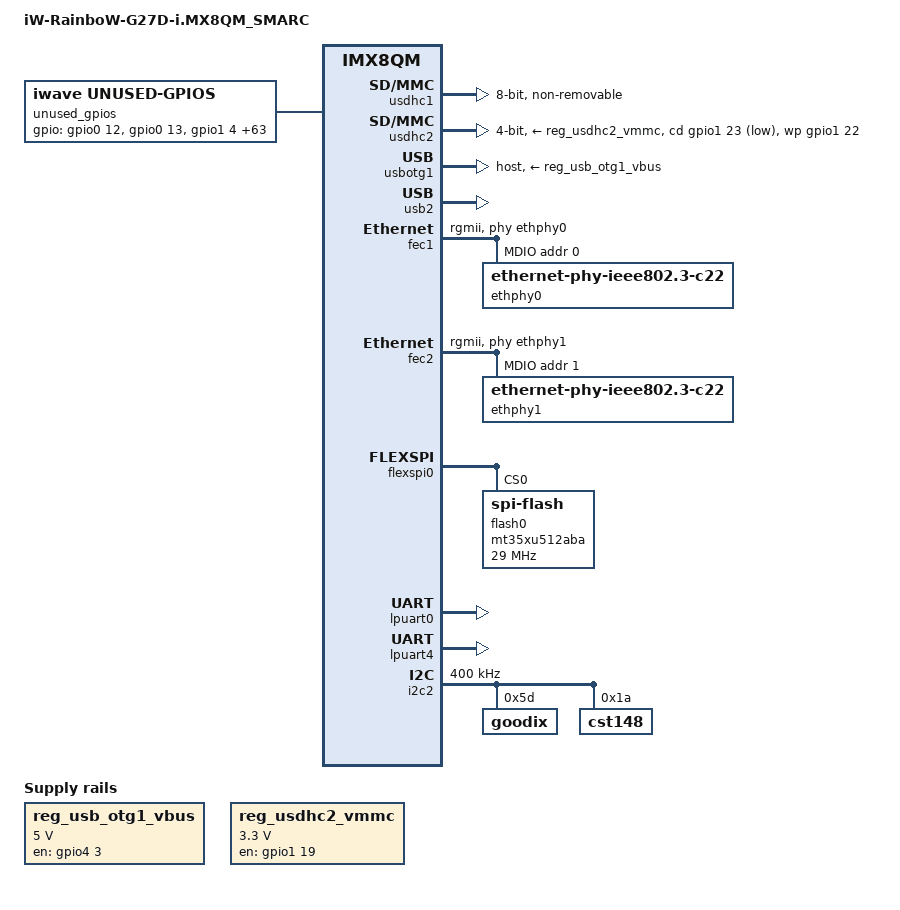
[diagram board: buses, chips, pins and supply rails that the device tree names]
/*
 * Copyright (C) 2018 iWave System Technologies Pvt Ltd.
 * Copyright 2018
 *
 * This program is free software; you can redistribute it and/or
 * modify it under the terms of the GNU General Public License
 * as published by the Free Software Foundation; either version 2
 * of the License, or (at your option) any later version.
 *
 * This program is distributed in the hope that it will be useful,
 * but WITHOUT ANY WARRANTY; without even the implied warranty of
 * MERCHANTABILITY or FITNESS FOR A PARTICULAR PURPOSE.  See the
 * GNU General Public License for more details.
 */

/dts-v1/;

/* First 128KB is for PSCI ATF. */
/memreserve/ 0x80000000 0x00020000;

#include "fsl-imx8qm.dtsi"

/ {
	model = "iW-RainboW-G27D-i.MX8QM_SMARC";
	compatible = "fsl,imx8qm-iwg27m", "fsl,imx8qm";

	chosen {
		bootargs = "console=ttyLP4,115200 earlycon=lpuart32,0x5a0a0000,115200";
		stdout-path = &lpuart4;
	};

	unused_gpios: unused_gpios {
		compatible = "iwave,unused-gpios";
		pinctrl-names = "default";
        	pinctrl-0 = <&pinctrl_unused_gpio>;
		status = "okay";
        };

	regulators {
		compatible = "simple-bus";
		#address-cells = <1>;
		#size-cells = <0>;

		reg_usb_otg1_vbus: regulator@0 {
			compatible = "regulator-fixed";
			reg = <0>;
			regulator-name = "usb_otg1_vbus";
			regulator-min-microvolt = <5000000>;
			regulator-max-microvolt = <5000000>;
			gpio = <&gpio4 3 GPIO_ACTIVE_HIGH>;
			enable-active-high;
		};

		reg_usdhc2_vmmc: usdhc2_vmmc {
			compatible = "regulator-fixed";
			regulator-name = "sw-3p3-sd1";
			regulator-min-microvolt = <3300000>;
			regulator-max-microvolt = <3300000>;
			gpio = <&gpio1 19 GPIO_ACTIVE_HIGH>;
			enable-active-high;
               	};
	};

};

&iomuxc {
	pinctrl-names = "default";
	pinctrl-0 = <&pinctrl_hog_1>;

	imx8qm-iwg27m {
		pinctrl_hog_1: hoggrp-1 {
			fsl,pins = <
				SC_P_USB_SS3_TC0_LSIO_GPIO4_IO03	  	0x00000021
			>;
		};

		pinctrl_fec1: fec1grp {
			fsl,pins = <
				SC_P_ENET0_MDC_CONN_ENET0_MDC			0x06000048
				SC_P_ENET0_MDIO_CONN_ENET0_MDIO			0x06000048
				SC_P_ENET0_RGMII_TX_CTL_CONN_ENET0_RGMII_TX_CTL	0x06000048
				SC_P_ENET0_RGMII_TXC_CONN_ENET0_RGMII_TXC	0x06000048
				SC_P_ENET0_RGMII_TXD0_CONN_ENET0_RGMII_TXD0	0x06000048
				SC_P_ENET0_RGMII_TXD1_CONN_ENET0_RGMII_TXD1	0x06000048
				SC_P_ENET0_RGMII_TXD2_CONN_ENET0_RGMII_TXD2	0x06000048
				SC_P_ENET0_RGMII_TXD3_CONN_ENET0_RGMII_TXD3	0x06000048
				SC_P_ENET0_RGMII_RXC_CONN_ENET0_RGMII_RXC	0x06000048
				SC_P_ENET0_RGMII_RX_CTL_CONN_ENET0_RGMII_RX_CTL	0x06000048
				SC_P_ENET0_RGMII_RXD0_CONN_ENET0_RGMII_RXD0	0x06000048
				SC_P_ENET0_RGMII_RXD1_CONN_ENET0_RGMII_RXD1	0x06000048
				SC_P_ENET0_RGMII_RXD2_CONN_ENET0_RGMII_RXD2	0x06000048
				SC_P_ENET0_RGMII_RXD3_CONN_ENET0_RGMII_RXD3	0x06000048
				SC_P_ENET0_REFCLK_125M_25M_CONN_ENET0_REFCLK_125M_25M	0x06000048
				SC_P_PCIE_CTRL1_WAKE_B_LSIO_GPIO4_IO31		0x00000021
		                SC_P_PCIE_CTRL1_CLKREQ_B_LSIO_GPIO4_IO30	0x00000021
                		SC_P_PCIE_CTRL0_CLKREQ_B_LSIO_GPIO4_IO27	0x00000021		
			>;
		};

		pinctrl_fec2: fec2grp {
			fsl,pins = <
				SC_P_ENET1_RGMII_TX_CTL_CONN_ENET1_RGMII_TX_CTL	0x06000048
				SC_P_ENET1_RGMII_TXC_CONN_ENET1_RGMII_TXC	0x06000048
				SC_P_ENET1_RGMII_TXD0_CONN_ENET1_RGMII_TXD0	0x06000048
				SC_P_ENET1_RGMII_TXD1_CONN_ENET1_RGMII_TXD1	0x06000048
				SC_P_ENET1_RGMII_TXD2_CONN_ENET1_RGMII_TXD2	0x06000048
				SC_P_ENET1_RGMII_TXD3_CONN_ENET1_RGMII_TXD3	0x06000048
				SC_P_ENET1_RGMII_RXC_CONN_ENET1_RGMII_RXC	0x06000048
				SC_P_ENET1_RGMII_RX_CTL_CONN_ENET1_RGMII_RX_CTL	0x06000048
				SC_P_ENET1_RGMII_RXD0_CONN_ENET1_RGMII_RXD0	0x06000048
				SC_P_ENET1_RGMII_RXD1_CONN_ENET1_RGMII_RXD1	0x06000048
				SC_P_ENET1_RGMII_RXD2_CONN_ENET1_RGMII_RXD2	0x06000048
				SC_P_ENET1_RGMII_RXD3_CONN_ENET1_RGMII_RXD3	0x06000048
				SC_P_ENET1_REFCLK_125M_25M_CONN_ENET1_REFCLK_125M_25M	0x06000048
				SC_P_ENET1_MDIO_CONN_ENET1_MDIO			0x06000048
				SC_P_ENET1_MDC_CONN_ENET1_MDC			0x06000048
				SC_P_MIPI_DSI1_I2C0_SCL_LSIO_GPIO1_IO20 	0x00000021 
				SC_P_MIPI_DSI0_I2C0_SCL_LSIO_GPIO1_IO16		0x00000021
				SC_P_MIPI_DSI0_I2C0_SDA_LSIO_GPIO1_IO17		0x00000021
			>;
		};

		pinctrl_lpuart0: lpuart0grp {
			fsl,pins = <
				SC_P_UART0_RX_DMA_UART0_RX			0x06000020
				SC_P_UART0_TX_DMA_UART0_TX			0x06000020
			>;
		};
	
		pinctrl_lpuart4: lpuart4grp {
                        fsl,pins = <
                                SC_P_M40_GPIO0_00_DMA_UART4_RX              	0x06000020
                                SC_P_M40_GPIO0_01_DMA_UART4_TX              	0x06000020
                        >;
                };

		pinctrl_usdhc1: usdhc1grp {
			fsl,pins = <
				SC_P_EMMC0_CLK_CONN_EMMC0_CLK			0x06000041
				SC_P_EMMC0_CMD_CONN_EMMC0_CMD			0x00000021
				SC_P_EMMC0_DATA0_CONN_EMMC0_DATA0		0x00000021
				SC_P_EMMC0_DATA1_CONN_EMMC0_DATA1		0x00000021
				SC_P_EMMC0_DATA2_CONN_EMMC0_DATA2		0x00000021
				SC_P_EMMC0_DATA3_CONN_EMMC0_DATA3		0x00000021
				SC_P_EMMC0_DATA4_CONN_EMMC0_DATA4		0x00000021
				SC_P_EMMC0_DATA5_CONN_EMMC0_DATA5		0x00000021
				SC_P_EMMC0_DATA6_CONN_EMMC0_DATA6		0x00000021
				SC_P_EMMC0_DATA7_CONN_EMMC0_DATA7		0x00000021
				SC_P_EMMC0_STROBE_CONN_EMMC0_STROBE		0x06000041
				SC_P_EMMC0_RESET_B_CONN_EMMC0_RESET_B		0x00000021
			>;
		};

		pinctrl_usdhc1_100mhz: usdhc1grp100mhz {
			fsl,pins = <
				SC_P_EMMC0_CLK_CONN_EMMC0_CLK			0x06000040
				SC_P_EMMC0_CMD_CONN_EMMC0_CMD			0x00000020
				SC_P_EMMC0_DATA0_CONN_EMMC0_DATA0		0x00000020
				SC_P_EMMC0_DATA1_CONN_EMMC0_DATA1		0x00000020
				SC_P_EMMC0_DATA2_CONN_EMMC0_DATA2		0x00000020
				SC_P_EMMC0_DATA3_CONN_EMMC0_DATA3		0x00000020
				SC_P_EMMC0_DATA4_CONN_EMMC0_DATA4		0x00000020
				SC_P_EMMC0_DATA5_CONN_EMMC0_DATA5		0x00000020
				SC_P_EMMC0_DATA6_CONN_EMMC0_DATA6		0x00000020
				SC_P_EMMC0_DATA7_CONN_EMMC0_DATA7		0x00000020
				SC_P_EMMC0_STROBE_CONN_EMMC0_STROBE		0x06000040
				SC_P_EMMC0_RESET_B_CONN_EMMC0_RESET_B		0x00000020
			>;
		};

		pinctrl_usdhc1_200mhz: usdhc1grp200mhz {
			fsl,pins = <
				SC_P_EMMC0_CLK_CONN_EMMC0_CLK			0x06000040
				SC_P_EMMC0_CMD_CONN_EMMC0_CMD			0x00000020
				SC_P_EMMC0_DATA0_CONN_EMMC0_DATA0		0x00000020
				SC_P_EMMC0_DATA1_CONN_EMMC0_DATA1		0x00000020
				SC_P_EMMC0_DATA2_CONN_EMMC0_DATA2		0x00000020
				SC_P_EMMC0_DATA3_CONN_EMMC0_DATA3		0x00000020
				SC_P_EMMC0_DATA4_CONN_EMMC0_DATA4		0x00000020
				SC_P_EMMC0_DATA5_CONN_EMMC0_DATA5		0x00000020
				SC_P_EMMC0_DATA6_CONN_EMMC0_DATA6		0x00000020
				SC_P_EMMC0_DATA7_CONN_EMMC0_DATA7		0x00000020
				SC_P_EMMC0_STROBE_CONN_EMMC0_STROBE		0x06000040
				SC_P_EMMC0_RESET_B_CONN_EMMC0_RESET_B		0x00000020
			>;
		};

		pinctrl_usdhc2_gpio: usdhc2grpgpio {
			fsl,pins = <
				SC_P_MIPI_DSI1_GPIO0_00_LSIO_GPIO1_IO22		0x00000021
				SC_P_MIPI_DSI1_GPIO0_01_LSIO_GPIO1_IO23		0x00000021
				SC_P_MIPI_DSI0_GPIO0_01_LSIO_GPIO1_IO19		0x00000021
			>;
		};

		pinctrl_usdhc2: usdhc2grp {
			fsl,pins = <
				SC_P_USDHC1_CLK_CONN_USDHC1_CLK			0x06000041
				SC_P_USDHC1_CMD_CONN_USDHC1_CMD			0x00000021
				SC_P_USDHC1_DATA0_CONN_USDHC1_DATA0		0x00000021
				SC_P_USDHC1_DATA1_CONN_USDHC1_DATA1		0x00000021
				SC_P_USDHC1_DATA2_CONN_USDHC1_DATA2		0x00000021
				SC_P_USDHC1_DATA3_CONN_USDHC1_DATA3		0x00000021
				SC_P_USDHC2_VSELECT_CONN_USDHC2_VSELECT 	0x00000021
			>;
		};

		pinctrl_usdhc2_100mhz: usdhc2grp100mhz {
			fsl,pins = <
				SC_P_USDHC1_CLK_CONN_USDHC1_CLK			0x06000040
				SC_P_USDHC1_CMD_CONN_USDHC1_CMD			0x00000020
				SC_P_USDHC1_DATA0_CONN_USDHC1_DATA0		0x00000020
				SC_P_USDHC1_DATA1_CONN_USDHC1_DATA1		0x00000020
				SC_P_USDHC1_DATA2_CONN_USDHC1_DATA2		0x00000020
				SC_P_USDHC1_DATA3_CONN_USDHC1_DATA3		0x00000020
				SC_P_USDHC2_VSELECT_CONN_USDHC2_VSELECT 	0x00000020
			>;
		};

		pinctrl_usdhc2_200mhz: usdhc2grp200mhz {
			fsl,pins = <
				SC_P_USDHC1_CLK_CONN_USDHC1_CLK			0x06000040
				SC_P_USDHC1_CMD_CONN_USDHC1_CMD			0x00000020
				SC_P_USDHC1_DATA0_CONN_USDHC1_DATA0		0x00000020
				SC_P_USDHC1_DATA1_CONN_USDHC1_DATA1		0x00000020
				SC_P_USDHC1_DATA2_CONN_USDHC1_DATA2		0x00000020
				SC_P_USDHC1_DATA3_CONN_USDHC1_DATA3		0x00000020
				SC_P_USDHC2_VSELECT_CONN_USDHC2_VSELECT 	0x00000020
			>;
		};

		pinctrl_usb2: usbgrp {
			fsl,pins = <
				SC_P_USDHC1_RESET_B_LSIO_GPIO4_IO07		0x06000021
				SC_P_MIPI_DSI1_I2C0_SDA_LSIO_GPIO1_IO21 	0x06000021
			>;
		};
		
		pinctrl_board_cfg: board_cfg {
			fsl,pins = <

				SC_P_LVDS0_GPIO01_LSIO_GPIO1_IO05		0x00000021
				SC_P_LVDS1_I2C0_SCL_LSIO_GPIO1_IO12		0x00000021
				SC_P_LVDS1_GPIO01_LSIO_GPIO1_IO11		0x00000021
				SC_P_LVDS1_GPIO00_LSIO_GPIO1_IO10		0x00000021
				SC_P_M40_I2C0_SCL_LSIO_GPIO0_IO06		0x00000021
				SC_P_M40_I2C0_SDA_LSIO_GPIO0_IO07		0x00000021
				SC_P_M41_I2C0_SDA_LSIO_GPIO0_IO11		0x00000021
			>;
		};

		pinctrl_flexspi0: flexspi0grp {
			fsl,pins = <
				SC_P_QSPI0A_DATA0_LSIO_QSPI0A_DATA0		0x0600004c
				SC_P_QSPI0A_DATA1_LSIO_QSPI0A_DATA1		0x0600004c
				SC_P_QSPI0A_DATA2_LSIO_QSPI0A_DATA2		0x0600004c
				SC_P_QSPI0A_DATA3_LSIO_QSPI0A_DATA3		0x0600004c
				SC_P_QSPI0A_DQS_LSIO_QSPI0A_DQS			0x0600004c
				SC_P_QSPI0A_SS0_B_LSIO_QSPI0A_SS0_B		0x0600004c
				SC_P_QSPI0A_SS1_B_LSIO_QSPI0A_SS1_B		0x0600004c
				SC_P_QSPI0A_SCLK_LSIO_QSPI0A_SCLK		0x0600004c
				SC_P_QSPI0B_SCLK_LSIO_QSPI0B_SCLK		0x0600004c
				SC_P_QSPI0B_DATA0_LSIO_QSPI0B_DATA0		0x0600004c
				SC_P_QSPI0B_DATA1_LSIO_QSPI0B_DATA1		0x0600004c
				SC_P_QSPI0B_DATA2_LSIO_QSPI0B_DATA2		0x0600004c
				SC_P_QSPI0B_DATA3_LSIO_QSPI0B_DATA3		0x0600004c
				SC_P_QSPI0B_DQS_LSIO_QSPI0B_DQS			0x0600004c
				SC_P_QSPI0B_SS0_B_LSIO_QSPI0B_SS0_B		0x0600004c
				SC_P_QSPI0B_SS1_B_LSIO_QSPI0B_SS1_B		0x0600004c
			>;
		};

		pinctrl_lpi2c2: lpi2c2grp {
        		fsl,pins = <
                		SC_P_GPT1_CLK_DMA_I2C2_SCL			0xc600004c
                		SC_P_GPT1_CAPTURE_DMA_I2C2_SDA          	0xc600004c
        		>;
		};

		pinctrl_unused_gpio: unused_gpiogrp{
			fsl,pins = <
				SC_P_M41_GPIO0_00_LSIO_GPIO0_IO12		0x00000021
				SC_P_M41_GPIO0_01_LSIO_GPIO0_IO13		0x00000021
				SC_P_LVDS0_GPIO00_LSIO_GPIO1_IO04		0x00000021
				SC_P_LVDS0_I2C0_SCL_LSIO_GPIO1_IO06		0x00000021
				SC_P_LVDS0_I2C0_SDA_LSIO_GPIO1_IO07		0x00000021
				SC_P_LVDS0_I2C1_SCL_LSIO_GPIO1_IO08		0x00000021
				SC_P_LVDS1_GPIO00_LSIO_GPIO1_IO10		0x00000021
				SC_P_LVDS1_I2C1_SCL_LSIO_GPIO1_IO14		0x00000021
				SC_P_LVDS1_I2C1_SDA_LSIO_GPIO1_IO15		0x00000021
				SC_P_MIPI_CSI1_MCLK_OUT_LSIO_GPIO1_IO29		0x00000021
				SC_P_MIPI_CSI1_I2C0_SCL_LSIO_GPIO2_IO00		0x00000021
				SC_P_MIPI_CSI1_I2C0_SDA_LSIO_GPIO2_IO01		0x00000021
				SC_P_HDMI_TX0_TS_SCL_LSIO_GPIO2_IO02		0x00000021
				SC_P_HDMI_TX0_TS_SDA_LSIO_GPIO2_IO03		0x00000021
				SC_P_ESAI1_FSR_LSIO_GPIO2_IO04			0x00000021
				SC_P_ESAI1_FST_LSIO_GPIO2_IO05			0x00000021
				SC_P_ESAI1_SCKR_LSIO_GPIO2_IO06			0x00000021
				SC_P_ESAI1_SCKT_LSIO_GPIO2_IO07			0x00000021
				SC_P_ESAI1_TX0_LSIO_GPIO2_IO08			0x00000021
				SC_P_ESAI1_TX1_LSIO_GPIO2_IO09			0x00000021
				SC_P_ESAI1_TX2_RX3_LSIO_GPIO2_IO10		0x00000021
				SC_P_ESAI1_TX3_RX2_LSIO_GPIO2_IO11		0x00000021
				SC_P_ESAI1_TX4_RX1_LSIO_GPIO2_IO12		0x00000021
				SC_P_ESAI1_TX5_RX0_LSIO_GPIO2_IO13		0x00000021
				SC_P_SPDIF0_RX_LSIO_GPIO2_IO14			0x00000021
				SC_P_SPDIF0_TX_LSIO_GPIO2_IO15			0x00000021
				SC_P_SPDIF0_EXT_CLK_LSIO_GPIO2_IO16		0x00000021
				SC_P_ESAI0_FSR_LSIO_GPIO2_IO22			0x00000021
				SC_P_ESAI0_SCKR_LSIO_GPIO2_IO24			0x00000021
				SC_P_ESAI0_TX1_LSIO_GPIO2_IO27			0x00000021
				SC_P_MCLK_IN0_LSIO_GPIO3_IO00			0x00000021
				SC_P_SPI0_SCK_LSIO_GPIO3_IO02			0x00000021
				SC_P_SPI0_SDO_LSIO_GPIO3_IO03			0x00000021
				SC_P_SPI0_SDI_LSIO_GPIO3_IO04			0x00000021
				SC_P_SPI0_CS0_LSIO_GPIO3_IO05			0x00000021
				SC_P_SPI0_CS1_LSIO_GPIO3_IO06			0x00000021
				SC_P_SPI2_CS1_LSIO_GPIO3_IO11			0x00000021
				SC_P_SAI1_RXC_LSIO_GPIO3_IO12			0x00000021
				SC_P_SAI1_RXFS_LSIO_GPIO3_IO14			0x00000021
				SC_P_ADC_IN4_LSIO_GPIO3_IO22			0x00000021
				SC_P_ADC_IN5_LSIO_GPIO3_IO23			0x00000021
				SC_P_ADC_IN6_LSIO_GPIO3_IO24			0x00000021
				SC_P_ADC_IN7_LSIO_GPIO3_IO25			0x00000021
				SC_P_MLB_SIG_LSIO_GPIO3_IO26			0x00000021
				SC_P_MLB_CLK_LSIO_GPIO3_IO27			0x00000021
				SC_P_MLB_DATA_LSIO_GPIO3_IO28			0x00000021
				SC_P_FLEXCAN2_RX_LSIO_GPIO4_IO01		0x00000021
				SC_P_FLEXCAN2_TX_LSIO_GPIO4_IO02		0x00000021
				SC_P_USB_SS3_TC2_LSIO_GPIO4_IO05		0x00000021
				SC_P_USDHC2_RESET_B_LSIO_GPIO4_IO09		0x00000021
				SC_P_USDHC2_WP_LSIO_GPIO4_IO11			0x00000021
				SC_P_QSPI1A_SS0_B_LSIO_GPIO4_IO19		0x00000021
				SC_P_QSPI1A_SS1_B_LSIO_GPIO4_IO20		0x00000021
				SC_P_QSPI1A_SCLK_LSIO_GPIO4_IO21		0x00000021
				SC_P_QSPI1A_DQS_LSIO_GPIO4_IO22			0x00000021
				SC_P_QSPI1A_DATA3_LSIO_GPIO4_IO23		0x00000021
				SC_P_QSPI1A_DATA2_LSIO_GPIO4_IO24		0x00000021
				SC_P_QSPI1A_DATA1_LSIO_GPIO4_IO25		0x00000021
				SC_P_QSPI1A_DATA0_LSIO_GPIO4_IO26		0x00000021
				SC_P_PCIE_CTRL1_PERST_B_LSIO_GPIO5_IO00		0x00000021
				SC_P_USB_HSIC0_DATA_LSIO_GPIO5_IO01		0x00000021
				SC_P_USB_HSIC0_STROBE_LSIO_GPIO5_IO02		0x00000021
				SC_P_USDHC1_DATA4_LSIO_GPIO5_IO19		0x00000021
				SC_P_USDHC1_DATA5_LSIO_GPIO5_IO20		0x00000021
				SC_P_USDHC1_DATA6_LSIO_GPIO5_IO21		0x00000021
				SC_P_USDHC1_DATA7_LSIO_GPIO5_IO22		0x00000021
			>;
		};
	};
};

&usdhc1 {
	pinctrl-names = "default", "state_100mhz", "state_200mhz";
	pinctrl-0 = <&pinctrl_usdhc1>;
	pinctrl-1 = <&pinctrl_usdhc1_100mhz>;
	pinctrl-2 = <&pinctrl_usdhc1_200mhz>;
	bus-width = <8>;
	non-removable;
	status = "okay";
};

&usdhc2 {
	pinctrl-names = "default", "state_100mhz", "state_200mhz";
	pinctrl-0 = <&pinctrl_usdhc2>, <&pinctrl_usdhc2_gpio>;
	pinctrl-1 = <&pinctrl_usdhc2_100mhz>, <&pinctrl_usdhc2_gpio>;
	pinctrl-2 = <&pinctrl_usdhc2_200mhz>, <&pinctrl_usdhc2_gpio>;
	bus-width = <4>;
	/* IWG27M: Fixed 3.3v for standard SD due to
	 * PMIC ERRATA ER021:VSELECT Incorrect Setpoint */
	no-1-8-v;
	cd-gpios = <&gpio1 23 GPIO_ACTIVE_LOW>;
	wp-gpios = <&gpio1 22 GPIO_ACTIVE_HIGH>;
	vmmc-supply = <&reg_usdhc2_vmmc>;
	status = "okay";
};

&usbotg1 {
	vbus-supply = <&reg_usb_otg1_vbus>;
	srp-disable;
	hnp-disable;
	adp-disable;
	disable-over-current;
	dr_mode = "host";
	status = "okay";
};

&usb2 {
	pinctrl-names = "default";
    	pinctrl-0 = <&pinctrl_usb2>;
	status = "okay";
};

&fec1 {
	pinctrl-names = "default";
	pinctrl-0 = <&pinctrl_fec1>;
	phy-mode = "rgmii";
	phy-handle = <&ethphy0>;
	fsl,ar8031-phy-fixup;
	fsl,magic-packet;
	status = "okay";

	mdio {
		#address-cells = <1>;
		#size-cells = <0>;

		ethphy0: ethernet-phy@0 {
			compatible = "ethernet-phy-ieee802.3-c22";
			reg = <0>;
		};
	};
};

&fec2 {
	pinctrl-names = "default";
	pinctrl-0 = <&pinctrl_fec2>;
	phy-mode = "rgmii";
	phy-handle = <&ethphy1>;
	fsl,ar8031-phy-fixup;
	fsl,magic-packet;
	status = "okay";
	mdio {
		#address-cells = <1>;
		#size-cells = <0>;

		ethphy1: ethernet-phy@1 {
 			compatible = "ethernet-phy-ieee802.3-c22";
			reg = <1>;
       		};
	};
};

&flexspi0 {
	pinctrl-names = "default";
	pinctrl-0 = <&pinctrl_flexspi0>;
	status = "okay";

	flash0: mt35xu512aba@0 {
		reg = <0>;
		#address-cells = <1>;
		#size-cells = <1>;
		compatible = "spi-flash";
		spi-max-frequency = <29000000>;
		spi-nor,ddr-quad-read-dummy = <8>;
	};
};

&lpuart0 {
	pinctrl-names = "default";
	pinctrl-0 = <&pinctrl_lpuart0>;
	status = "okay";
};

&lpuart4 {
        pinctrl-names = "default";
        pinctrl-0 = <&pinctrl_lpuart4>;
        status = "okay";
};

&i2c2 {
        #address-cells = <1>;
        #size-cells = <0>;
        pinctrl-names = "default";
        pinctrl-0 = <&pinctrl_lpi2c2>;
        clock-frequency = <400000>;
        status = "okay";

        goodix@5d {
                reg = <0x5d>;
                status = "okay";
        };

        cst148@1a {
                reg = <0x1a>;
                status = "okay";
        };
};

&unused_gpios {
        gpios = <&gpio0 12 0>,
                <&gpio0 13 0>,
                <&gpio1 4 0>,
                <&gpio1 6 0>,
                <&gpio1 7 0>,
                <&gpio1 8 0>,
                <&gpio1 10 0>,
                <&gpio1 14 0>,
                <&gpio1 15 0>,
                <&gpio1 29 0>,
                <&gpio2 0 0>,
                <&gpio2 1 0>,
                <&gpio2 2 0>,
                <&gpio2 3 0>,
                <&gpio2 4 0>,
                <&gpio2 5 0>,
                <&gpio2 6 0>,
                <&gpio2 7 0>,
                <&gpio2 8 0>,
                <&gpio2 9 0>,
                <&gpio2 10 0>,
                <&gpio2 11 0>,
                <&gpio2 12 0>,
                <&gpio2 13 0>,
                <&gpio2 14 0>,
                <&gpio2 15 0>,
                <&gpio2 16 0>,
                <&gpio2 22 0>,
                <&gpio2 24 0>,
                <&gpio2 27 0>,
                <&gpio3 0 0>,
                <&gpio3 2 0>,
                <&gpio3 3 0>,
                <&gpio3 4 0>,
                <&gpio3 5 0>,
                <&gpio3 6 0>,
                <&gpio3 11 0>,
                <&gpio3 12 0>,
                <&gpio3 14 0>,
                <&gpio3 22 0>,
                <&gpio3 23 0>,
                <&gpio3 24 0>,
                <&gpio3 25 0>,
                <&gpio3 26 0>,
                <&gpio3 27 0>,
                <&gpio3 28 0>,
                <&gpio4 1 0>,
                <&gpio4 2 0>,
                <&gpio4 5 0>,
                <&gpio4 9 0>,
                <&gpio4 11 0>,
                <&gpio4 19 0>,
                <&gpio4 20 0>,
                <&gpio4 21 0>,
                <&gpio4 22 0>,
                <&gpio4 23 0>,
                <&gpio4 24 0>,
                <&gpio4 25 0>,
                <&gpio4 26 0>,
                <&gpio5 0 0>,
                <&gpio5 1 0>,
                <&gpio5 2 0>,
                <&gpio5 19 0>,
                <&gpio5 20 0>,
                <&gpio5 21 0>,
                <&gpio5 22 0>;
};
